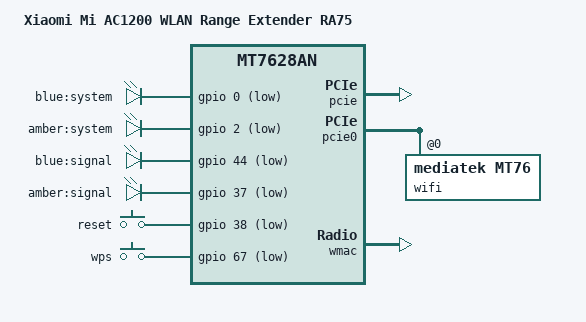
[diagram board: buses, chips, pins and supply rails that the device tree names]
// SPDX-License-Identifier: GPL-2.0-or-later OR MIT

#include "mt7628an_xiaomi_mi-router-4.dtsi"

/ {
	compatible = "xiaomi,mi-ra75", "mediatek,mt7628an-soc";
	model = "Xiaomi Mi AC1200 WLAN Range Extender RA75";
	aliases {
		led-boot = &led_system_amber;
		led-failsafe = &led_system_amber;
		led-running = &led_system_blue;
		led-upgrade = &led_system_amber;
		label-mac-device = &ethernet;
	};

	leds {
		compatible = "gpio-leds";

		led_system_blue: system_blue {
			label = "blue:system";
			gpios = <&gpio 0 GPIO_ACTIVE_LOW>;
		};
		led_system_amber: system_amber {
			label = "amber:system";
			gpios = <&gpio 2 GPIO_ACTIVE_LOW>;
		};
		led_signal_blue: signal_blue {
			label = "blue:signal";
			gpios = <&gpio 44 GPIO_ACTIVE_LOW>;
		};
		led_signal_amber: signal_amber {
			label = "amber:signal";
			gpios = <&gpio 37 GPIO_ACTIVE_LOW>;
		};
	};

	keys {
		compatible = "gpio-keys";

		reset {
			label = "reset";
			gpios = <&gpio 38 GPIO_ACTIVE_LOW>;
			linux,code = <KEY_RESTART>;
		};
		wps {
			label = "wps";
			gpios = <&gpio 67 GPIO_ACTIVE_LOW>;
			linux,code = <KEY_WPS_BUTTON>;
		};
	};

};

&partitions {
	partition@60000 {
		label = "overlay";
		reg = <0x60000 0x100000>;
		read-only;
	};

	partition@160000 {
		label = "firmware";
		reg = <0x160000 0xea0000>;
		compatible = "denx,uimage";
	};
};

&pcie {
	status = "okay";
};

&pcie0 {
	wifi@0,0 {
		compatible = "mediatek,mt76";
		reg = <0x0000 0 0 0 0>;
		mediatek,mtd-eeprom = <&factory 0x8000>;
		ieee80211-freq-limit = <5000000 6000000>;
	};
};

&ethernet {
	nvmem-cells = <&macaddr_factory_28>;
	nvmem-cell-names = "mac-address";
};

&wmac {
	ralink,mtd-eeprom = <&factory 0x0>;
};


&esw {
	mediatek,portmap = <0x3e>;
	mediatek,portdisable = <0x2a>;
};

&ehci {
	status = "disabled";
};

&ohci {
	status = "disabled";
};

&factory {
	compatible = "nvmem-cells";
	#address-cells = <1>;
	#size-cells = <1>;

	macaddr_factory_4: macaddr@4 {
		reg = <0x4 0x6>;
	};

	macaddr_factory_28: macaddr@28 {
		reg = <0x28 0x6>;
	};
	macaddr_factory_8004: macaddr@8004 {
		reg = <0x8004 0x6>;
	};
};


